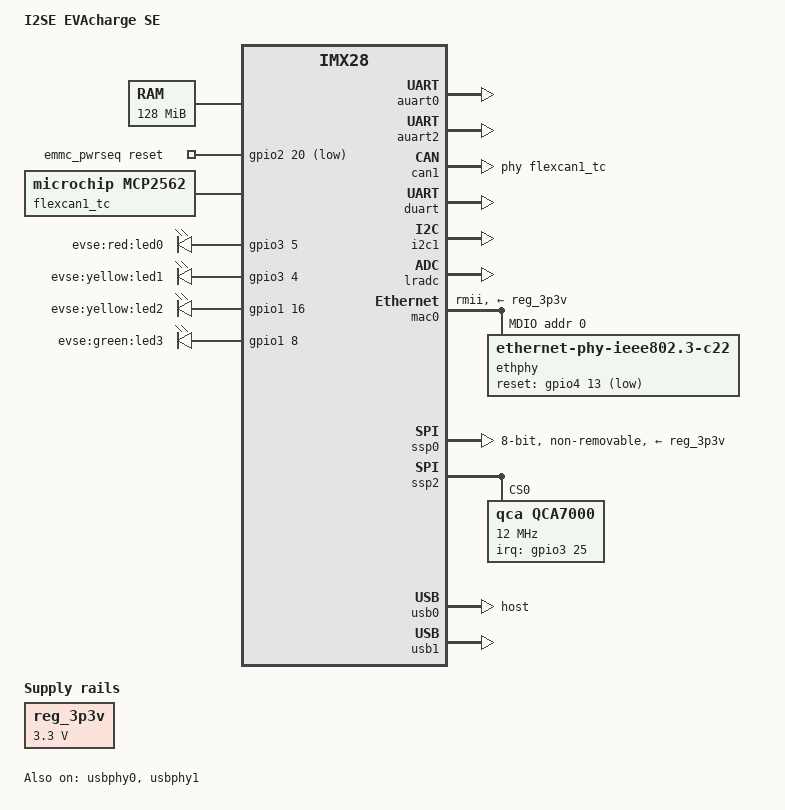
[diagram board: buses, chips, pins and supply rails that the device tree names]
// SPDX-License-Identifier: GPL-2.0-or-later
//
// Copyright (C) 2017 I2SE GmbH
// Copyright (C) 2025 chargebyte GmbH

/dts-v1/;
#include <dt-bindings/gpio/gpio.h>
#include <dt-bindings/interrupt-controller/irq.h>
#include "imx28.dtsi"

/ {
	compatible = "i2se,imx28-ievachargese", "fsl,imx28";
	model = "I2SE EVAcharge SE";

	aliases {
		ethernet1 = &qca7000;
	};

	memory@40000000 {
		reg = <0x40000000 0x08000000>;
		device_type = "memory";
	};

	emmc_pwrseq: emmc-pwrseq {
		compatible = "mmc-pwrseq-emmc";
		pinctrl-0 = <&emmc_reset_pin>;
		pinctrl-names = "default";
		reset-gpios = <&gpio2 20 GPIO_ACTIVE_LOW>;
	};

	flexcan1_tc: can-phy0 {
		compatible = "microchip,mcp2562";
		#phy-cells = <0>;
		max-bitrate = <1000000>;
	};

	leds {
		compatible = "gpio-leds";
		pinctrl-names = "default";
		pinctrl-0 = <&led_pins>;

		led-0 {
			label = "evse:red:led0";
			gpios = <&gpio3 5 GPIO_ACTIVE_HIGH>;
			linux,default-trigger = "heartbeat";
		};

		led-1 {
			label = "evse:yellow:led1";
			gpios = <&gpio3 4 GPIO_ACTIVE_HIGH>;
		};

		led-2 {
			label = "evse:yellow:led2";
			gpios = <&gpio1 16 GPIO_ACTIVE_HIGH>;
		};

		led-3 {			/* Boot process */
			label = "evse:green:led3";
			gpios = <&gpio1 8 GPIO_ACTIVE_HIGH>;
			linux,default-trigger = "timer";
		};
	};

	reg_3p3v: regulator-3p3v {
		compatible = "regulator-fixed";
		regulator-name = "3P3V";
		regulator-min-microvolt = <3300000>;
		regulator-max-microvolt = <3300000>;
		regulator-always-on;
	};
};

&auart0 {
	pinctrl-names = "default";
	pinctrl-0 = <&auart0_2pins_a>;
	status = "okay";
};

&auart2 {
	pinctrl-names = "default";
	pinctrl-0 = <&auart2_2pins_b>;
	status = "okay";
};

&can1 {
	pinctrl-names = "default";
	pinctrl-0 = <&can1_pins_b>;
	phys = <&flexcan1_tc>;
	status = "okay";
};

&duart {
	pinctrl-names = "default";
	pinctrl-0 = <&duart_pins_a>;
	status = "okay";
};

&i2c1 {
	pinctrl-names = "default";
	pinctrl-0 = <&i2c1_pins_b>;
	status = "okay";
};

&lradc {
	status = "okay";
};

&mac0 {
	phy-mode = "rmii";
	pinctrl-names = "default";
	pinctrl-0 = <&mac0_pins_a>, <&mac0_phy_reset_pin>;
	phy-supply = <&reg_3p3v>;
	status = "okay";

	mdio {
		#address-cells = <1>;
		#size-cells = <0>;

		ethphy: ethernet-phy@0 {
			compatible = "ethernet-phy-ieee802.3-c22";
			reg = <0>;
			clocks = <&clks 64>; /* enet_out */
			max-speed = <100>;
			reset-assert-us = <500>;
			reset-deassert-us = <500>;
			reset-gpios = <&gpio4 13 GPIO_ACTIVE_LOW>;
			smsc,disable-energy-detect;
		};
	};
};

&pinctrl {
	mac0_phy_reset_pin: mac0-phy-reset@0 {
		reg = <0>;
		fsl,pinmux-ids = <
			MX28_PAD_ENET0_RX_CLK__GPIO_4_13
		>;
		fsl,drive-strength = <MXS_DRIVE_4mA>;
		fsl,voltage = <MXS_VOLTAGE_HIGH>;
		fsl,pull-up = <MXS_PULL_DISABLE>;
	};

	mac0_phy_int_pin: mac0-phy-int@0 {
		reg = <0>;
		fsl,pinmux-ids = <
			MX28_PAD_ENET0_TX_CLK__GPIO_4_5
		>;
		fsl,drive-strength = <MXS_DRIVE_4mA>;
		fsl,voltage = <MXS_VOLTAGE_HIGH>;
		fsl,pull-up = <MXS_PULL_DISABLE>;
	};

	qca7k_pins: qca7k-pins@0 {
		reg = <0>;
		fsl,pinmux-ids = <
			MX28_PAD_I2C0_SDA__GPIO_3_25 /* SPI_INT */
			MX28_PAD_LCD_D13__GPIO_1_13  /* QCA7K_RESET */
			MX28_PAD_LCD_D14__GPIO_1_14  /* GPIO_0 */
			MX28_PAD_LCD_D15__GPIO_1_15  /* GPIO_1 */
			MX28_PAD_LCD_D18__GPIO_1_18  /* GPIO_2 */
			MX28_PAD_LCD_D21__GPIO_1_21  /* GPIO_3 */
		>;
		fsl,drive-strength = <MXS_DRIVE_4mA>;
		fsl,voltage = <MXS_VOLTAGE_HIGH>;
		fsl,pull-up = <MXS_PULL_DISABLE>;
	};

	led_pins: led-pins@0 {
		reg = <0>;
		fsl,pinmux-ids = <
			MX28_PAD_LCD_D16__GPIO_1_16  /* LED_2 */
			MX28_PAD_LCD_D08__GPIO_1_8   /* LED_3 */
			MX28_PAD_AUART1_RX__GPIO_3_4 /* LED_1 */
			MX28_PAD_AUART1_TX__GPIO_3_5 /* LED_0 */
		>;
		fsl,drive-strength = <MXS_DRIVE_4mA>;
		fsl,voltage = <MXS_VOLTAGE_HIGH>;
		fsl,pull-up = <MXS_PULL_DISABLE>;
	};

	emmc_reset_pin: emmc-reset@0 {
		reg = <0>;
		fsl,pinmux-ids = <
			MX28_PAD_SSP2_SS1__GPIO_2_20
		>;
		fsl,drive-strength = <MXS_DRIVE_4mA>;
		fsl,voltage = <MXS_VOLTAGE_HIGH>;
		fsl,pull-up = <MXS_PULL_DISABLE>;
	};
};

&ssp0 {
	compatible = "fsl,imx28-mmc";
	pinctrl-names = "default";
	pinctrl-0 = <&mmc0_8bit_pins_a
		&mmc0_cd_cfg &mmc0_sck_cfg>;
	bus-width = <8>;
	non-removable;
	no-sdio;
	vmmc-supply = <&reg_3p3v>;
	mmc-pwrseq = <&emmc_pwrseq>;
	status = "okay";
};

&ssp2 {
	compatible = "fsl,imx28-spi";
	pinctrl-names = "default";
	pinctrl-0 = <&spi2_pins_a>;
	#address-cells = <1>;
	#size-cells = <0>;
	status = "okay";

	qca7000: ethernet@0 {
		compatible = "qca,qca7000";
		reg = <0x0>;
		interrupt-parent = <&gpio3>;
		interrupts = <25 IRQ_TYPE_EDGE_RISING>;
		spi-cpha;
		spi-cpol;
		spi-max-frequency = <12000000>;
	};
};

&usb0 {
	dr_mode = "host";
	status = "okay";
};

&usb1 {
	status = "okay";
};

&usbphy0 {
	status = "okay";
};

&usbphy1 {
	status = "okay";
};
